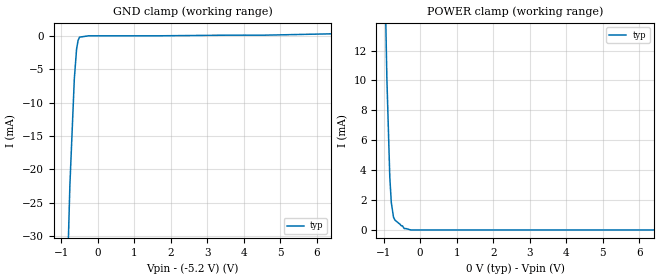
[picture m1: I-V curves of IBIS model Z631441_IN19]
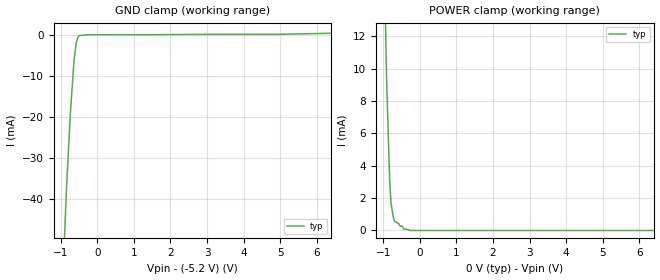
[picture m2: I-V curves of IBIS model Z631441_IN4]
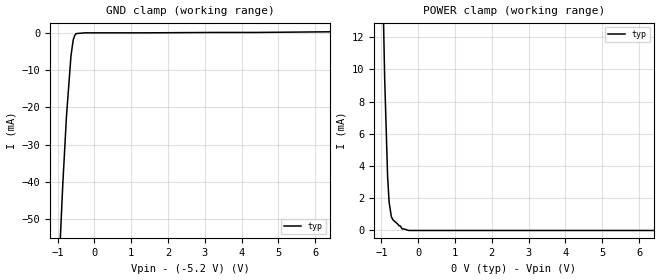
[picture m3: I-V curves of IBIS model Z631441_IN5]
| YOU ARE ONLY AUTHORIZED TO USE THIS SOFTWARE
| ACCORDING TO LICENSOR'S LICENSE RESTRICTIONS.
[IBIS Ver] 3.1
[File Name] mc10ep57dt_-52.ibs
[File Rev] 3.0
[Source] Measured and created by ICX Technology
[Date] 2/14/2003
[Copyright]
| (C) COPYRIGHT 1993-2000
| MENTOR GRAPHICS CORPORATION
| ICX STANDARD LIBRARY, ICX PROJECT MODELING,
| ICX CUSTOM MODELING, ICX VENDOR MODEL
| ALL RIGHTS RESERVED.
| THE FOLLOWING ARE TRADEMARKS OR SERVICE MARKS OF
| MENTOR GRAPHICS CORPORATION:ICX (R), ICX STANDARD
| LIBRARY(R), ICX PROJECT MODELING(R), ICX CUSTOM
| MODELING(R), qualityIBIS(TM), MODELVIEWER(TM),
| AND MODELEDITOR(TM)
| ALL COPIES OF SOFTWARE, INCLUDING BUT NOT LIMITED TO
| ANY MODIFICATIONS, ENHANCEMENTS OR DERIVATIVE WORKS,
| MUST CONTAIN ALL MENTOR GRAPHICS CORPORATION'S
| NOTICES AND LEGENDS, INCLUDING THOSE EMBEDDED IN
| SOFTWARE AND THOSE AFFIXED TO SOFTWARE MEDIUM
| AND CONTAINER, AS RECEIVED FROM MENTOR GRAPHICS
| CORPORATION.
|  ZAP Model Builder 2.8
[Component] MC10EP57DT_-52
[Manufacturer] OnSemiconductor
[Package]
| variable   typ   min   max
R_pkg  .18ohms NA NA
L_pkg  4.22nH NA NA
C_pkg  .41pF NA NA
[Pin] signal_name  model_name  R_pin  L_pin C_pin
1 VCC GND .194 5.16n .43p
2 D0 Z631441_IN4 .185 4.57n .42p
3 _D0 Z631441_IN5 .177 3.98n .42p
4 D1 Z631441_IN4 .174 3.79n .41p
5 _D1 Z631441_IN5 .171 3.6n .37p
6 D2 Z631441_IN4 .171 3.6n .37p
7 _D2 Z631441_IN5 .174 3.79n .41p
8 D3 Z631441_IN4 .177 3.98n .42p
9 _D3 Z631441_IN5 .185 4.57n .42p
10 VEE POWER .194 5.16n .43p
11 VEE POWER .194 5.16n .43p
12 VBB2 POWER .185 4.57n .42p
13 VBB1 POWER .177 3.98n .42p
14 VCC GND .174 3.79n .41p
15 _Q Z631441_OUT15 .171 3.6n .37p
16 Q Z631441_OUT16 .171 3.6n .37p
17 VCC GND .174 3.79n .41p
18 SEL0 Z631441_IN19 .177 3.98n .42p
19 SEL1 Z631441_IN19 .185 4.57n .42p
20 VCC GND .194 5.16n .43p
[Diff Pin] inv_pin vdiff tdelay_typ tdelay_min tdelay_max
16 15 NA NA NA NA
2 3 150mv NA NA NA
4 5 150mv NA NA NA
6 7 150mv NA NA NA
8 9 150mv NA NA NA
| Models and submodels in the file (5): Z631441_IN19 (Input_ECL), Z631441_IN4 (Input_ECL), Z631441_IN5 (Input_ECL), Z631441_OUT15 (Output_ECL), Z631441_OUT16 (Output_ECL)
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| (C) COPYRIGHT 1993-2000
| MENTOR GRAPHICS CORPORATION
| ICX STANDARD LIBRARY, ICX PROJECT MODELING,
| ICX CUSTOM MODELING, ICX VENDOR MODEL
| ALL RIGHTS RESERVED.
| THE FOLLOWING ARE TRADEMARKS OR SERVICE MARKS OF
| MENTOR GRAPHICS CORPORATION:ICX (R), ICX STANDARD
| LIBRARY(R), ICX PROJECT MODELING(R), ICX CUSTOM
| MODELING(R), qualityIBIS(TM), MODELVIEWER(TM),
| AND MODELEDITOR(TM)
| ALL COPIES OF SOFTWARE, INCLUDING BUT NOT LIMITED TO
| ANY MODIFICATIONS, ENHANCEMENTS OR DERIVATIVE WORKS,
| MUST CONTAIN ALL MENTOR GRAPHICS CORPORATION'S
| NOTICES AND LEGENDS, INCLUDING THOSE EMBEDDED IN
| SOFTWARE AND THOSE AFFIXED TO SOFTWARE MEDIUM
| AND CONTAINER, AS RECEIVED FROM MENTOR GRAPHICS
| CORPORATION.
| Model Application Version 1.89 2/18/99.
[Model] Z631441_IN19
Model_type Input_ECL
Vinl = -1.545V
Vinh = -1.145V
C_comp 1.000pF NA NA
| variable typ   min   max
[Voltage Range] -5.200V NA NA
[GND Clamp Reference] -5.200V NA NA
[POWER Clamp Reference] 0.000V NA NA
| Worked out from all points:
|   GND clamp passes 1 mA (typ) near -0.55 V on its own axis
|   POWER clamp passes 1 mA (typ) near -0.74 V on its own axis
[GND Clamp]
-5.2V     -903.1mA   NA         NA
-760mV    -22.4mA    NA         NA
-638mV    -6.4mA     NA         NA
-577mV    -2mA       NA         NA
-536mV    -700uA     NA         NA
-496mV    -200uA     NA         NA
-248mV    0A         NA         NA
1.622V    0A         NA         NA
3.68V     100uA      NA         NA
4.592V    100uA      NA         NA
10.4V     736.8uA    NA         NA
[POWER Clamp]
-5.2V     745.6mA    NA         NA
-1.034V   26.02mA    NA         NA
-912mV    10.23mA    NA         NA
-831mV    3.542mA    NA         NA
-790mV    1.847mA    NA         NA
-730mV    853.3uA    NA         NA
-689mV    657.8uA    NA         NA
-516.5mV  280uA      NA         NA
-486mV    280uA      NA         NA
-435.5mV  91.12uA    NA         NA
-256.7mV  0A         NA         NA
10.4V     0A         NA         NA
| (C) COPYRIGHT 1993-2000
| MENTOR GRAPHICS CORPORATION
| ICX STANDARD LIBRARY, ICX PROJECT MODELING,
| ICX CUSTOM MODELING, ICX VENDOR MODEL
| ALL RIGHTS RESERVED.
| THE FOLLOWING ARE TRADEMARKS OR SERVICE MARKS OF
| MENTOR GRAPHICS CORPORATION:ICX (R), ICX STANDARD
| LIBRARY(R), ICX PROJECT MODELING(R), ICX CUSTOM
| MODELING(R), qualityIBIS(TM), MODELVIEWER(TM),
| AND MODELEDITOR(TM)
| ALL COPIES OF SOFTWARE, INCLUDING BUT NOT LIMITED TO
| ANY MODIFICATIONS, ENHANCEMENTS OR DERIVATIVE WORKS,
| MUST CONTAIN ALL MENTOR GRAPHICS CORPORATION'S
| NOTICES AND LEGENDS, INCLUDING THOSE EMBEDDED IN
| SOFTWARE AND THOSE AFFIXED TO SOFTWARE MEDIUM
| AND CONTAINER, AS RECEIVED FROM MENTOR GRAPHICS
| CORPORATION.
| Model Application Version 1.89 2/18/99.
[Model] Z631441_IN4
Model_type Input_ECL
Vinl = -1.545V
Vinh = -1.145V
C_comp 1.000pF NA NA
| variable typ   min   max
[Voltage Range] -5.200V NA NA
[GND Clamp Reference] -5.200V NA NA
[POWER Clamp Reference] 0.000V NA NA
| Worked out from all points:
|   GND clamp passes 1 mA (typ) near -0.55 V on its own axis
|   POWER clamp passes 1 mA (typ) near -0.74 V on its own axis
[GND Clamp]
-5.2V     -970.5mA   NA         NA
-841mV    -36.8mA    NA         NA
-739mV    -19.2mA    NA         NA
-638mV    -6.2mA     NA         NA
-577mV    -1.9mA     NA         NA
-536mV    -700uA     NA         NA
-496mV    -200uA     NA         NA
-248mV    0A         NA         NA
1.379V    0A         NA         NA
3.194V    100uA      NA         NA
4.926V    100uA      NA         NA
10.4V     1.048mA    NA         NA
[POWER Clamp]
-5.2V     653.1mA    NA         NA
-1.034V   23.77mA    NA         NA
-912mV    9.495mA    NA         NA
-831mV    3.309mA    NA         NA
-790mV    1.716mA    NA         NA
-730mV    826.2uA    NA         NA
-689mV    540.4uA    NA         NA
-537mV    268.5uA    NA         NA
-486mV    268.5uA    NA         NA
-435.5mV  85.97uA    NA         NA
-256.7mV  0A         NA         NA
10.4V     0A         NA         NA
| (C) COPYRIGHT 1993-2000
| MENTOR GRAPHICS CORPORATION
| ICX STANDARD LIBRARY, ICX PROJECT MODELING,
| ICX CUSTOM MODELING, ICX VENDOR MODEL
| ALL RIGHTS RESERVED.
| THE FOLLOWING ARE TRADEMARKS OR SERVICE MARKS OF
| MENTOR GRAPHICS CORPORATION:ICX (R), ICX STANDARD
| LIBRARY(R), ICX PROJECT MODELING(R), ICX CUSTOM
| MODELING(R), qualityIBIS(TM), MODELVIEWER(TM),
| AND MODELEDITOR(TM)
| ALL COPIES OF SOFTWARE, INCLUDING BUT NOT LIMITED TO
| ANY MODIFICATIONS, ENHANCEMENTS OR DERIVATIVE WORKS,
| MUST CONTAIN ALL MENTOR GRAPHICS CORPORATION'S
| NOTICES AND LEGENDS, INCLUDING THOSE EMBEDDED IN
| SOFTWARE AND THOSE AFFIXED TO SOFTWARE MEDIUM
| AND CONTAINER, AS RECEIVED FROM MENTOR GRAPHICS
| CORPORATION.
| Model Application Version 1.89 2/18/99.
[Model] Z631441_IN5
Model_type Input_ECL
Vinl = -1.545V
Vinh = -1.145V
C_comp 1.000pF NA NA
| variable typ   min   max
[Voltage Range] -5.200V NA NA
[GND Clamp Reference] -5.200V NA NA
[POWER Clamp Reference] 0.000V NA NA
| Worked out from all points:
|   GND clamp passes 1 mA (typ) near -0.55 V on its own axis
|   POWER clamp passes 1 mA (typ) near -0.74 V on its own axis
[GND Clamp]
-5.2V     -988mA     NA         NA
-861mV    -40.8mA    NA         NA
-760mV    -22.4mA    NA         NA
-638mV    -6.2mA     NA         NA
-577mV    -1.9mA     NA         NA
-536mV    -700uA     NA         NA
-496mV    -200uA     NA         NA
-248mV    0A         NA         NA
1.389V    0A         NA         NA
3.214V    100uA      NA         NA
4.359V    100uA      NA         NA
10.4V     627.6uA    NA         NA
[POWER Clamp]
-5.2V     645.7mA    NA         NA
-1.034V   23.74mA    NA         NA
-912mV    9.547mA    NA         NA
-831mV    3.354mA    NA         NA
-790mV    1.758mA    NA         NA
-730mV    862.8uA    NA         NA
-689mV    666.4uA    NA         NA
-516.5mV  284.1uA    NA         NA
-486mV    284.1uA    NA         NA
-435.5mV  92.93uA    NA         NA
-256.7mV  0A         NA         NA
10.4V     0A         NA         NA
